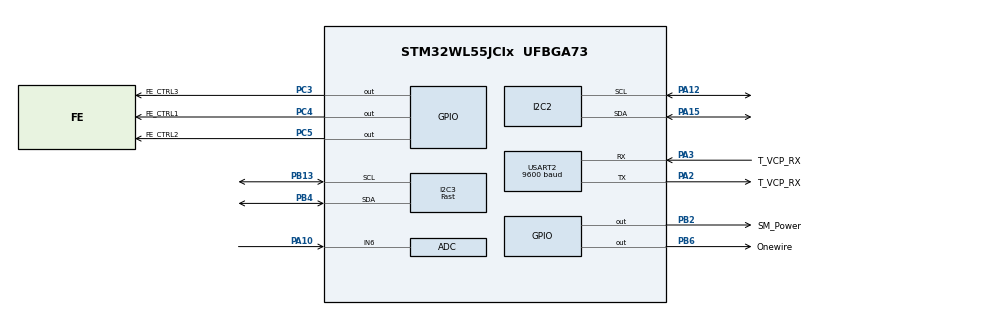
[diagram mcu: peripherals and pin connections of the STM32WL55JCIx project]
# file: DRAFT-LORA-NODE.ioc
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ADC.Channel-0\#ChannelRegularConversion=ADC_CHANNEL_6
ADC.EnableRegularConversion=ENABLE
ADC.NbrOfConversion=1
ADC.NbrOfConversionFlag=1
ADC.Rank-0\#ChannelRegularConversion=1
ADC.SamplingTime-0\#ChannelRegularConversion=ADC_SAMPLINGTIME_COMMON_1
ADC.SamplingTimeCommon1=ADC_SAMPLETIME_19CYCLES_5
ADC.SamplingTimeCommon2=ADC_SAMPLETIME_19CYCLES_5
ADC.SelectedChannel=ADC_CHANNEL_6
I2C2.Timing=0x10805D88
I2C3.I2C_Speed_Mode=I2C_Fast
I2C3.Timing=0x0090194B
Mcu.Family=STM32WL
Mcu.Name=STM32WL55JCIx
Mcu.Package=UFBGA73
NVIC.PriorityGroup=NVIC_PRIORITYGROUP_4
NVIC.SUBGHZ_Radio_IRQn=true\:0\:0\:false\:false\:true\:true\:true\:true
OSC_IN.Mode=HSE-External-Oscillator
OSC_IN.Signal=RCC_OSC_IN
OSC_OUT.Mode=HSE-External-Oscillator
OSC_OUT.Signal=RCC_OSC_OUT
PA10.Mode=IN6
PA10.Signal=ADC_IN6
PA12.Mode=I2C
PA12.Signal=I2C2_SCL
PA15.Mode=I2C
PA15.Signal=I2C2_SDA
PA2.GPIO_Label=T_VCP_RX
PA2.Mode=Asynchronous
PA2.Signal=USART2_TX
PA3.GPIO_Label=T_VCP_RX
PA3.Mode=Asynchronous
PA3.Signal=USART2_RX
PB13.Mode=I2C
PB13.Signal=I2C3_SCL
PB2.GPIO_Label=SM_Power
PB2.GPIO_Speed=GPIO_SPEED_FREQ_VERY_HIGH
PB2.PinState=GPIO_PIN_SET
PB2.Signal=GPIO_Output
PB4.Mode=I2C
PB4.Signal=I2C3_SDA
PB6.GPIO_FM6=SYSCFG_FASTMODEPLUS_PB6
PB6.GPIO_Label=Onewire
PB6.GPIO_Speed=GPIO_SPEED_FREQ_VERY_HIGH
PB6.Signal=GPIO_Output
PB8.Signal=I2C1_SCL
PB9.Signal=I2C1_SDA
PC14-OSC32_IN.GPIO_Label=RCC_OSC32_IN
PC14-OSC32_IN.Signal=RCC_OSC32_IN
PC15-OSC32_OUT.GPIO_Label=RCC_OSC32_OUT
PC15-OSC32_OUT.Signal=RCC_OSC32_OUT
PC3.GPIO_Label=FE_CTRL3
PC3.GPIO_Speed=GPIO_SPEED_FREQ_VERY_HIGH
PC3.Signal=GPIO_Output
PC4.GPIO_Label=FE_CTRL1
PC4.GPIO_Speed=GPIO_SPEED_FREQ_VERY_HIGH
PC4.Signal=GPIO_Output
PC5.GPIO_Label=FE_CTRL2
PC5.GPIO_Speed=GPIO_SPEED_FREQ_VERY_HIGH
PC5.Signal=GPIO_Output
ProjectManager.HeapSize=0x200
ProjectManager.StackSize=0x400
ProjectManager.TargetToolchain=STM32CubeIDE
RCC.AHBFreq_Value=48000000
RCC.APB1Freq_Value=48000000
RCC.APB1TimFreq_Value=48000000
RCC.APB2Freq_Value=48000000
RCC.APB2TimFreq_Value=48000000
RCC.APB3Freq_Value=48000000
RCC.CortexFreq_Value=48000000
RCC.HCLKFreq_Value=48000000
RCC.HSE_VALUE=32000000
RCC.HSI_VALUE=16000000
RCC.LSE_VALUE=32768
RCC.MSIClockRange=RCC_MSIRANGE_11
RCC.SYSCLKFreq_VALUE=48000000
RCC.VCOOutputFreq_Value=384000000
SUBGHZ.BaudratePrescaler=SUBGHZSPI_BAUDRATEPRESCALER_4
TIM2.Prescaler=47
USART2.BaudRate=9600
USART2.VirtualMode-Asynchronous=VM_ASYNC
VP_RTC_VS_RTC_Activate.Mode=RTC_Enabled
VP_SUBGHZ_VS_SUBGHZ.Mode=SUBGHZ_Activate
VP_TIM2_VS_ClockSourceINT.Mode=Internal
board=NUCLEO-WL55JC2

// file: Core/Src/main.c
/* USER CODE BEGIN Header */
/**
  ******************************************************************************
  * @file           : main.c
  * @brief          : Main program body
  ******************************************************************************
  * @attention
  *
  * <h2><center>&copy; Copyright (c) 2021 STMicroelectronics.
  * All rights reserved.</center></h2>
  *
  * This software component is licensed by ST under BSD 3-Clause license,
  * the "License"; You may not use this file except in compliance with the
  * License. You may obtain a copy of the License at:
  *                        opensource.org/licenses/BSD-3-Clause
  *
  ******************************************************************************
  */
/* USER CODE END Header */
#include "main.h"
#include "adc.h"
#include "i2c.h"
#include "rtc.h"
#include "subghz.h"
#include "tim.h"
#include "usart.h"
#include "gpio.h"

/* USER CODE BEGIN Includes */

#include <string.h>
#include <stdio.h>
//lora
#include "radio_driver.h"
#include "stm32wlxx_nucleo.h"
//sensors
#include "BME280_STM32.h"
// drivers for oled
#include "ssd1306.h"
#include "fonts.h"

/* USER CODE END Includes */

/* USER CODE BEGIN PTD */

typedef enum
{
  STATE_NULL,
  STATE_MASTER,
  STATE_SLAVE
} state_t;

typedef enum
{
  SSTATE_NULL,
  SSTATE_RX,
  SSTATE_TX
} substate_t;

typedef struct
{
  state_t state;
  substate_t subState;
  uint32_t rxTimeout;
  uint32_t rxMargin;
  uint32_t randomDelay;
  char rxBuffer[RX_BUFFER_SIZE];
  uint8_t rxSize;
} pingPongFSM_t;

/* USER CODE END PTD */

/* USER CODE BEGIN PM */

//#define RF_FREQUENCY                                433000000 //868000000 /* Hz */
//#define TX_OUTPUT_POWER                             14        /* dBm */
//#define LORA_BANDWIDTH                              0         /* Hz */
//#define LORA_SPREADING_FACTOR                       12
//#define LORA_CODINGRATE                             1
//#define LORA_PREAMBLE_LENGTH                        8         /* Same for Tx and Rx */
//#define LORA_SYMBOL_TIMEOUT                         5         /* Symbols */
#define RF_FREQUENCY                                433000000  // Choose based on your region
#define TX_OUTPUT_POWER                             14         // dBm, adjust for your region (14 dBm in Europe)
#define LORA_BANDWIDTH                              0          // 0 = 125 kHz, 1 = 250 kHz, 2 = 500 kHz
#define LORA_SPREADING_FACTOR                       12         // SF12 for maximum range
#define LORA_CODINGRATE                             4          // CR 4/8 for maximum robustness
#define LORA_PREAMBLE_LENGTH                        8          // Preamble length
#define LORA_SYMBOL_TIMEOUT                         5          // Symbols
/* USER CODE END PM */

/* USER CODE BEGIN PV */
#define NID 002

#define TRUE 1
#define FALSE 0
// OLED
#define OLEDenable 1 //0 to turn it off
#define BUFFER_SIZE 50
char bufnum[BUFFER_SIZE];
// OLED END
// BME280
#define BMEenable 1
float Temperature, Pressure, Humidity;
// BME280 END
//SoilMoisture
float SM;
float wetS = 1750;//1151; // set per medium
float dryS = 3785; // set per medium
float mS, cS;
#define CALIBRATION 1
//SoilMoiature END
// DS18B20
float ST;
uint8_t Presence = 0;

#define DS18B20_PORT Onewire_GPIO_Port
#define DS18B20_PIN Onewire_Pin
// DS18B20 END
//lora
volatile uint8_t txCompleteFlag = 0;
void (*volatile eventReceptor)(pingPongFSM_t *const fsm);
PacketParams_t packetParams;  // TODO: this is lazy...
const RadioLoRaBandwidths_t Bandwidths[] = { LORA_BW_125, LORA_BW_250, LORA_BW_500 };
//lora END
char uniqueID[25];
char txData[256];
uint8_t rxBuffer[256];
//sleep
long int wakeUpCount = 0;
long int halfMinutes = 1; // number of 30 second increments you wan the device to sleep
//sleep END
/* USER CODE END PV */

void SystemClock_Config(void);
/* USER CODE BEGIN PFP */

void radioInit(void);
void RadioOnDioIrq(RadioIrqMasks_t radioIrq);
void eventTxDone(pingPongFSM_t *const fsm);
void eventRxDone(pingPongFSM_t *const fsm);
void eventTxTimeout(pingPongFSM_t *const fsm);
void eventRxTimeout(pingPongFSM_t *const fsm);
void eventRxError(pingPongFSM_t *const fsm);
void enterMasterRx(pingPongFSM_t *const fsm);
void enterSlaveRx(pingPongFSM_t *const fsm);
void enterMasterTx(pingPongFSM_t *const fsm);
void enterSlaveTx(pingPongFSM_t *const fsm);
void transitionRxDone(pingPongFSM_t *const fsm);
//lora
void LEDstartup(void);
void receiveMODE(uint8_t *rxBuffer, uint8_t bufferSize, uint32_t timeout);
int checkRX(uint8_t *rxBuffer, uint8_t bufferSize);
void transmitData(char *data);
//sensors
uint8_t DS18B20_Start (void);
uint8_t DS18B20_Read (void);
void soilMOISTUREinit(void);
float soilMOISTURE(void);
float soilTEMP(void);
void printOLED(float SM, float ST, float AT, float AP, float AH);
/* USER CODE END PFP */

int main(void)
{

  /* USER CODE BEGIN 1 */

//  pingPongFSM_t fsm;
  char uartBuff[100];

  /* USER CODE END 1 */

  /* MCU Configuration--------------------------------------------------------*/

  /* Reset of all peripherals, Initializes the Flash interface and the Systick. */
  HAL_Init();

  /* Configure the system clock */
  SystemClock_Config();

  /* USER CODE BEGIN SysInit */

  GPIO_InitTypeDef GPIO_InitStruct = {0};

  // Enable GPIO Clocks
  __HAL_RCC_GPIOA_CLK_ENABLE();
  __HAL_RCC_GPIOB_CLK_ENABLE();

  // DEBUG_SUBGHZSPI_{NSSOUT, SCKOUT, MSIOOUT, MOSIOUT} pins
  GPIO_InitStruct.Pin = GPIO_PIN_4 | GPIO_PIN_5 | GPIO_PIN_6 | GPIO_PIN_7;
  GPIO_InitStruct.Mode = GPIO_MODE_AF_PP;
  GPIO_InitStruct.Pull = GPIO_NOPULL;
  GPIO_InitStruct.Speed = GPIO_SPEED_FREQ_VERY_HIGH;
  GPIO_InitStruct.Alternate = GPIO_AF13_DEBUG_SUBGHZSPI;
  HAL_GPIO_Init(GPIOA, &GPIO_InitStruct);

  // DEBUG_RF_{HSE32RDY, NRESET} pins
  GPIO_InitStruct.Pin = GPIO_PIN_10 | GPIO_PIN_11;
  GPIO_InitStruct.Alternate = GPIO_AF13_DEBUG_RF;
  HAL_GPIO_Init(GPIOA, &GPIO_InitStruct);

  // DEBUG_RF_{SMPSRDY, LDORDY} pins
  GPIO_InitStruct.Pin = GPIO_PIN_2 | GPIO_PIN_4;
  HAL_GPIO_Init(GPIOB, &GPIO_InitStruct);

  // RF_BUSY pin
  GPIO_InitStruct.Pin = GPIO_PIN_12;
  GPIO_InitStruct.Alternate = GPIO_AF6_RF_BUSY;
  HAL_GPIO_Init(GPIOA, &GPIO_InitStruct);

  // RF_{IRQ0, IRQ1, IRQ2} pins
  GPIO_InitStruct.Pin = GPIO_PIN_3 | GPIO_PIN_5 | GPIO_PIN_8;
  HAL_GPIO_Init(GPIOB, &GPIO_InitStruct);

  /* USER CODE END SysInit */

  /* Initialize all configured peripherals */
  MX_GPIO_Init();
  MX_SUBGHZ_Init();
  MX_USART2_UART_Init();
  MX_ADC_Init();
  MX_TIM2_Init();
  MX_I2C3_Init();
  MX_I2C2_Init();
  MX_RTC_Init();
  /* USER CODE BEGIN 2 */

  SSD1306_Clear(); // clear screen of old info before operation

  HAL_TIM_Base_Start(&htim2); // start timer used for us delays

  if(BMEenable) BME280_Config(OSRS_2, OSRS_16, OSRS_1, MODE_NORMAL, T_SB_0p5, IIR_16);

  // Calibrate The ADC On Power-Up For Better Accuracy
  HAL_GPIO_WritePin(GPIOB, SM_Power_Pin, GPIO_PIN_SET);
  HAL_Delay(100);
  HAL_ADCEx_Calibration_Start(&hadc);
  HAL_GPIO_WritePin(GPIOB, SM_Power_Pin, GPIO_PIN_RESET);

  SSD1306_Init (); // initialise the display TODO : for debugging only
  soilMOISTUREinit();

  //BSP_LED_Init(LED_GREEN);//might interfere with measurements
  //BSP_LED_Init(LED_RED);
  //BSP_LED_Init(LED_BLUE);
  //BSP_LED_Init(LED_GREEN);

	/* Check and handle if the system was resumed from StandBy mode */
	if(__HAL_PWR_GET_FLAG(PWR_FLAG_SB) == RESET)
	{
	  MX_RTC_Init();
	}
	else
	{
	  /* Clear Standby flag */
	  __HAL_PWR_CLEAR_FLAG(PWR_FLAG_SB);

	  /* Enable access to RTC domain for following wake-up source configuration */
	  HAL_PWR_EnableBkUpAccess();
	  __HAL_RCC_RTCAPB_CLK_ENABLE();
	}

  DBGMCU->CR &= ~(DBGMCU_CR_DBG_SLEEP | DBGMCU_CR_DBG_STOP | DBGMCU_CR_DBG_STANDBY);

  //strcpy(uartBuff, "\nAngus is doing his best\n---------------\r\n");
  //HAL_UART_Transmit(&huart2, (uint8_t *)uartBuff, strlen(uartBuff), HAL_MAX_DELAY);
//  sprintf(uartBuff, "LORA_MODULATION\r\nLORA_BW=%d Hz\r\nLORA_SF=%d\r\n", (1 << LORA_BANDWIDTH) * 125, LORA_SPREADING_FACTOR);
//  HAL_UART_Transmit(&huart2, (uint8_t *)uartBuff, strlen(uartBuff), HAL_MAX_DELAY);
  radioInit();

  getUniqueID(uniqueID);
  transmitData((uint8_t *)uniqueID);

  printFlowerArt();
  LEDstartup();

  /* USER CODE END 2 */

  /* Infinite loop */
  while (1)
  {

    /* USER CODE BEGIN 3 */
	  //take measurements
	  if (BMEenable){
		  BME280_WakeUP();
		  BME280_Measure();
	  }

	  SM = soilMOISTURE();
	  ST = soilTEMP();
	  if (OLEDenable) printOLED(SM, ST, Temperature, Pressure, Humidity);//TODO: for debugging

	  //TODO: put data into formatted string txData
	  formatSensorData(txData);

	  //HAL_Delay(5000);

	  //Transmit Data
	  BSP_LED_On(LED_RED);
	  transmitData((uint8_t *)txData);

	  __HAL_UART_DISABLE_IT(&huart2, UART_IT_RXNE);  // Disable UART RX interrupt

//	  HAL_Delay(100);
		// Wait for LoRa transmission to complete before entering Stop 2 mode
	  waitForLoRaTxComplete();
	  BSP_LED_Off(LED_RED);
	  sleep(halfMinutes);
	  //HAL_Delay(2000);

  }
  /* USER CODE END 3 */
}

void SystemClock_Config(void)
{
  RCC_OscInitTypeDef RCC_OscInitStruct = {0};
  RCC_ClkInitTypeDef RCC_ClkInitStruct = {0};

  /** Configure the main internal regulator output voltage
  */
  __HAL_PWR_VOLTAGESCALING_CONFIG(PWR_REGULATOR_VOLTAGE_SCALE1);

  /** Initializes the CPU, AHB and APB buses clocks
  */
  RCC_OscInitStruct.OscillatorType = RCC_OSCILLATORTYPE_LSI|RCC_OSCILLATORTYPE_MSI;
  RCC_OscInitStruct.MSIState = RCC_MSI_ON;
  RCC_OscInitStruct.MSICalibrationValue = RCC_MSICALIBRATION_DEFAULT;
  RCC_OscInitStruct.MSIClockRange = RCC_MSIRANGE_11;
  RCC_OscInitStruct.LSIDiv = RCC_LSI_DIV1;
  RCC_OscInitStruct.LSIState = RCC_LSI_ON;
  RCC_OscInitStruct.PLL.PLLState = RCC_PLL_NONE;
  if (HAL_RCC_OscConfig(&RCC_OscInitStruct) != HAL_OK)
  {
    Error_Handler();
  }

  /** Configure the SYSCLKSource, HCLK, PCLK1 and PCLK2 clocks dividers
  */
  RCC_ClkInitStruct.ClockType = RCC_CLOCKTYPE_HCLK3|RCC_CLOCKTYPE_HCLK
                              |RCC_CLOCKTYPE_SYSCLK|RCC_CLOCKTYPE_PCLK1
                              |RCC_CLOCKTYPE_PCLK2;
  RCC_ClkInitStruct.SYSCLKSource = RCC_SYSCLKSOURCE_MSI;
  RCC_ClkInitStruct.AHBCLKDivider = RCC_SYSCLK_DIV1;
  RCC_ClkInitStruct.APB1CLKDivider = RCC_HCLK_DIV1;
  RCC_ClkInitStruct.APB2CLKDivider = RCC_HCLK_DIV1;
  RCC_ClkInitStruct.AHBCLK3Divider = RCC_SYSCLK_DIV1;

  if (HAL_RCC_ClockConfig(&RCC_ClkInitStruct, FLASH_LATENCY_2) != HAL_OK)
  {
    Error_Handler();
  }
}

/* USER CODE BEGIN 4 */
void sleep(long int hMinutes)
{
	/* Deactivate RTC wake-up timer */
	HAL_RTCEx_DeactivateWakeUpTimer(&hrtc);

	/* Clear all related wakeup flags */
	__HAL_PWR_CLEAR_FLAG(PWR_FLAG_WU);

	/* Re-enable wakeup source: configure the Wakeup timer */
	// if you do this too fast then things get garbled
	HAL_RTCEx_SetWakeUpTimer_IT(&hrtc, 0xEA60, RTC_WAKEUPCLOCK_RTCCLK_DIV16, 0);
	BSP_LED_On(LED_GREEN);

	// Disable peripherals before sleep
	HAL_ADC_DeInit(&hadc);
	HAL_UART_DeInit(&huart2);
	HAL_I2C_DeInit(&hi2c2);
	HAL_I2C_DeInit(&hi2c3);

	// Disable unnecessary clocks before entering sleep mode
	    __HAL_RCC_USART2_CLK_DISABLE();
	    __HAL_RCC_ADC_CLK_DISABLE();
	    __HAL_RCC_I2C2_CLK_DISABLE();
	    __HAL_RCC_I2C3_CLK_DISABLE();
	    __HAL_RCC_TIM2_CLK_DISABLE();

	/* Enter Stop 2 Mode */
	HAL_PWREx_EnterSTOP2Mode(PWR_STOPENTRY_WFI);
	// code will resume from here
	// Increment wake-up count and check if 1 minute (2 wake-ups) is reached
	    wakeUpCount++;

	    // If we have woken up twice (for a total of 60 seconds), reset count
	    if (wakeUpCount >= hMinutes)
	    {
	        wakeUpCount = 0;  // Reset counter
	        // Reinitialize clock and peripherals
	    }
	    else
	    {
	        // Enter Stop 2 Mode again for duration of period
	        sleep(hMinutes);
	    }

	    // Upon waking up, re-enable the clocks
		SystemClock_Config();
		__HAL_RCC_USART2_CLK_ENABLE();
		__HAL_RCC_ADC_CLK_ENABLE();
		__HAL_RCC_I2C2_CLK_ENABLE();
		__HAL_RCC_I2C3_CLK_ENABLE();
		__HAL_RCC_TIM2_CLK_ENABLE();

	BSP_LED_Off(LED_GREEN);

	//reinit some things
	SystemClock_Config();
	MX_TIM2_Init();
	HAL_TIM_Base_Start(&htim2); // Restart the timer if it is used for delays

	MX_USART2_UART_Init();
	MX_I2C2_Init();
	MX_I2C3_Init();
	MX_ADC_Init();

	MX_SUBGHZ_Init();
	radioInit(); // Custom radio initialization function

}

void handleRxTimeout(void)
{
    char uartBuff[50];
    // Apply workaround to reset certain timing registers after RX timeout
    SUBGRF_WriteRegister(0x0920, 0x00);
    SUBGRF_WriteRegister(0x0944, (SUBGRF_ReadRegister(0x0944) | 0x02));

    strcpy(uartBuff, "RX Timeout!\r\n");
    HAL_UART_Transmit(&huart2, (uint8_t *)uartBuff, strlen(uartBuff), HAL_MAX_DELAY);

    // Clear interrupt status
    SUBGRF_ClearIrqStatus(IRQ_RX_TX_TIMEOUT);

    // Re-set RX mode explicitly after timeout handling
    SUBGRF_SetRx(3000 << 6); // Ensure radio is back in RX mode
}

void handleRxError(void)
{
    char uartBuff[50];
    // Apply workaround to reset certain timing registers after CRC error
    SUBGRF_WriteRegister(0x0920, 0x00);
    SUBGRF_WriteRegister(0x0944, (SUBGRF_ReadRegister(0x0944) | 0x02));

    strcpy(uartBuff, "RX Error: CRC Error Detected!\r\n");
    HAL_UART_Transmit(&huart2, (uint8_t *)uartBuff, strlen(uartBuff), HAL_MAX_DELAY);

    // Clear interrupt status
    SUBGRF_ClearIrqStatus(IRQ_CRC_ERROR);

    // Re-set RX mode explicitly after error handling
    SUBGRF_SetRx(3000 << 6); // Ensure radio is back in RX mode
}

void handleRxDone(bool reset)
{
    char uartBuff[100];
//    uint8_t rxBuffer[256] = {0};  // Buffer to hold received data
    uint8_t rxSize = 0;
    PacketStatus_t packetStatus;

    // Apply workaround to reset certain timing registers after RX
    SUBGRF_WriteRegister(0x0920, 0x00); // Specific workaround for RX timing sequence
    SUBGRF_WriteRegister(0x0944, (SUBGRF_ReadRegister(0x0944) | 0x02)); // Another timing-related workaround

    // Retrieve the payload from the radio buffer
    SUBGRF_GetPayload((uint8_t *)rxBuffer, &rxSize, 0xFF);

    // Debug: Print the actual size of the received data
    snprintf(uartBuff, sizeof(uartBuff), "Payload Length: %d\r\n", rxSize);
    HAL_UART_Transmit(&huart2, (uint8_t *)uartBuff, strlen(uartBuff), HAL_MAX_DELAY);

    // Get the packet status
    SUBGRF_GetPacketStatus(&packetStatus);

    // Print the RSSI and SNR values
    // Display RSSI, SNR, and frequency error values
       sprintf(uartBuff, "Received Data: %s  \r\nRSSI=%d dBm \r\nSignal RSSI=%d dBm \r\nSNR=%d dB \r\nFreq Error=%lu Hz\r\n",
               rxBuffer,
       		   packetStatus.Params.LoRa.RssiPkt,
               packetStatus.Params.LoRa.SignalRssiPkt,
               packetStatus.Params.LoRa.SnrPkt,
               packetStatus.Params.LoRa.FreqError);
       HAL_UART_Transmit(&huart2, (uint8_t *)uartBuff, strlen(uartBuff), HAL_MAX_DELAY);

    // Debugging read directly from buffer registers
    for (int i = 0; i < rxSize; i++)
    {
        uint8_t byteRead = SUBGRF_ReadRegister(0x00 + i); // Assuming buffer starts at 0x00
        //snprintf(uartBuff, sizeof(uartBuff), "Byte %d: %02X\r\n", i, byteRead);
        //HAL_UART_Transmit(&huart2, (uint8_t *)uartBuff, strlen(uartBuff), HAL_MAX_DELAY);
    }

    // Print the received data in hexadecimal format for better diagnostics
    HAL_UART_Transmit(&huart2, (uint8_t *)"Data: ", 6, HAL_MAX_DELAY);
    for (int i = 0; i < rxSize; i++)
    {
        snprintf(uartBuff, sizeof(uartBuff), "%02X ", rxBuffer[i]);
        HAL_UART_Transmit(&huart2, (uint8_t *)uartBuff, strlen(uartBuff), HAL_MAX_DELAY);
    }
    HAL_UART_Transmit(&huart2, (uint8_t *)"\r\n", 2, HAL_MAX_DELAY);

    // Clear interrupt status and re-enable interrupts
    SUBGRF_ClearIrqStatus(IRQ_RX_DONE);

    if(reset){
    	// Re-set RX mode explicitly after each handling
    	SUBGRF_SetRx(3000 << 6); // Ensure radio is back in RX mode
    }

}

/**
  * @brief  Radio IRQ handler
  * @param  radioIrq Interrupt type (TX done, RX done, etc.)
  * @retval None
  */
//void RadioOnDioIrq(RadioIrqMasks_t radioIrq)
//{
//    // Handles the radio interrupts
//    if (radioIrq & IRQ_RX_DONE)
//        handleRxDone(TRUE);
//    else if (radioIrq & IRQ_RX_TX_TIMEOUT)
//        handleRxTimeout();
//    else if (radioIrq & IRQ_CRC_ERROR)
//        handleRxError();
//}

void receiveINIT(int timeout)
{
    // Set up radio to receive data
    SUBGRF_SetDioIrqParams(
        IRQ_RX_DONE | IRQ_RX_TX_TIMEOUT | IRQ_CRC_ERROR, // Enable specific interrupts
        IRQ_RX_DONE | IRQ_RX_TX_TIMEOUT | IRQ_CRC_ERROR,
        IRQ_RADIO_NONE,
        IRQ_RADIO_NONE
    );

    // Set the radio to RX mode with a timeout
	  SUBGRF_SetSwitch(RFO_LP, RFSWITCH_RX);  // Set RF switch to RX mode
	  packetParams.Params.LoRa.PayloadLength = sizeof(rxBuffer);  // Set expected payload length
	  SUBGRF_SetPacketParams(&packetParams);  // Apply packet parameters
	  SUBGRF_SetRx(timeout << 6);  // Set RX timeout (3000 ms)
}

void listenRX(void)
{
    // Wait for an event (IRQ handler will trigger the appropriate handler)
    while (1)
    {
        // Read the interrupt status from the radio
        uint16_t irqStatus = SUBGRF_GetIrqStatus();

        // Print the current IRQ status for debugging
//          char uartBuff[50];
//          snprintf(uartBuff, sizeof(uartBuff), "IRQ Status: 0x%04X\r\n", irqStatus);
//          HAL_UART_Transmit(&huart2, (uint8_t *)uartBuff, strlen(uartBuff), HAL_MAX_DELAY);

        // Check for specific interrupt events
        if (irqStatus & IRQ_RX_DONE)  // Check if RX is done
        {
            handleRxDone(TRUE);  // Handle the received data
            BSP_LED_Toggle(LED_BLUE);
            break;
        }
        else if (irqStatus & IRQ_RX_TX_TIMEOUT)  // Check for timeout
        {
            handleRxTimeout();  // Handle the timeout
            break;
        }
        else if (irqStatus & IRQ_CRC_ERROR)  // Check for CRC error
        {
            handleRxError();  // Handle the error
            break;
        }

        // Add a small delay to prevent flooding UART with messages
        HAL_Delay(5000);
    }
}

/**
  * @brief  Prints a flower art with a message to the UART.
  * @retval None
  */
void printFlowerArt(void)
{
    const char *flowerArt =
    "        _\r\n"
    "       (_)                   \r\n"
    "   /\\  | |  /\\        \r\n"
    "  /  \\_|_|_/  \\     \r\n"
    "  \\   `\"\"\"`   /     \r\n"
    "   \\_________/         \r\n"
    "       | |                   \r\n"
    "       | |                   \r\n"
    "       | |                   \r\n"
    "       | |                   \r\n"
    "      _|_|_                \r\n"
    "    /_/   \\_\\            \r\n\n"
    "Angus's Peony Monitor\r\n\n";

    // Transmit the art and message to UART
    HAL_UART_Transmit(&huart2, (uint8_t *)flowerArt, strlen(flowerArt), HAL_MAX_DELAY);
}

/**
 * @brief Fetches the STM32 board's unique ID and stores it in a string.
 * @param uniqueID A pointer to a character array where the unique ID will be stored.
 *                 Ensure the array is large enough to hold the formatted string (e.g., 25 bytes).
 */
void getUniqueID(char *uniqueID) {
    // Fetch the unique ID from the registers
    uint32_t id0 = HAL_GetUIDw0();  // First part of the unique ID
    uint32_t id1 = HAL_GetUIDw1();  // Second part of the unique ID
    uint32_t id2 = HAL_GetUIDw2();  // Third part of the unique ID

    // Format the unique ID into a readable string
    snprintf(uniqueID, 25, "%08X%08X%08X", id0, id1, id2);
}

/**
 * @brief Formats the sensor data into a string for transmission.
 * @param txData Pointer to the buffer where the formatted data will be stored.
 * @param SM Soil Moisture (format: xxx.xx).
 * @param ST Soil Temperature (format: xx.xx).
 * @param AT Air Temperature (format: xx.xx).
 * @param AP Air Pressure (format: xxxx).
 * @param AH Air Humidity (format: xx.xx).
 */
void formatSensorData(char *txData) {
    // Use snprintf to ensure the values are formatted as required.
    // %07.2f formats SM to xxx.xx, %05.2f formats ST, AT, AH to xx.xx, and %04.0f formats AP to xxxx
    sprintf(txData, "%f", SM);

    // Optional: Print the formatted data for debugging
    char uartBuff[256];
    snprintf((char *)txData, 256, "$%u:%06.2f:%05.2f:%05.2f:%04.0f:%05.2f",NID, SM, ST, Temperature, Pressure, Humidity);
    HAL_UART_Transmit(&huart2, (uint8_t *)uartBuff, strlen(uartBuff), HAL_MAX_DELAY);
}

void delay (uint16_t us)// us delay
{
	__HAL_TIM_SET_COUNTER(&htim2,0);  // set the counter value a 0
	while (__HAL_TIM_GET_COUNTER(&htim2) < us);  // wait for the counter to reach the us input in the parameter
}

float soilTEMP(void)
{
	uint8_t Temp_byte1, Temp_byte2;
	int16_t TEMP;

	  Presence = DS18B20_Start ();
	  DS18B20_Write (0xCC);  // skip ROM
	  DS18B20_Write (0x44);  // convert t

	  Presence = DS18B20_Start ();
	  DS18B20_Write (0xCC);  // skip ROM
	  DS18B20_Write (0xBE);  // Read Scratch-pad

      Temp_byte1 = DS18B20_Read();
	  Temp_byte2 = DS18B20_Read();
	  TEMP = ((Temp_byte2<<8))|Temp_byte1;
	  return (float)TEMP/16.0;  // resolution is 0.0625

}

uint8_t DS18B20_Start (void)
{
	uint8_t Response = 0;
	Set_Pin_Output(DS18B20_PORT, DS18B20_PIN);   // set the pin as output
	HAL_GPIO_WritePin (DS18B20_PORT, DS18B20_PIN, 0);  // pull the pin low
	delay (480);   // delay according to datasheet

	Set_Pin_Input(DS18B20_PORT, DS18B20_PIN);    // set the pin as input

	delay (80);    // delay according to datasheet
		if (!(HAL_GPIO_ReadPin (DS18B20_PORT, DS18B20_PIN))) Response = 1;    // if the pin is low i.e the presence pulse is detected
		else Response = -1;

		delay (400); // 480 us delay totally.

		return Response;

}

void DS18B20_Write (uint8_t data)
{
	Set_Pin_Output(DS18B20_PORT, DS18B20_PIN);  // set as output

	for (int i=0; i<8; i++)
	{
		if ((data & (1<<i))!=0)  // if the bit is high
		{
			// write 1
			Set_Pin_Output(DS18B20_PORT, DS18B20_PIN);  // set as output
			HAL_GPIO_WritePin (DS18B20_PORT, DS18B20_PIN, 0);  // pull the pin LOW
			delay (1);  // wait for 1 us

			Set_Pin_Input(DS18B20_PORT, DS18B20_PIN);  // set as input
			delay (50);  // wait for 60 us
		}

		else  // if the bit is low
		{
			// write 0
			Set_Pin_Output(DS18B20_PORT, DS18B20_PIN);
			HAL_GPIO_WritePin (DS18B20_PORT, DS18B20_PIN, 0);  // pull the pin LOW
			delay (50);  // wait for 60 us

			Set_Pin_Input(DS18B20_PORT, DS18B20_PIN);
		}
	}
}

uint8_t DS18B20_Read(void)
{
    uint8_t value = 0;
    Set_Pin_Input(DS18B20_PORT, DS18B20_PIN);

    for (int i = 0; i < 8; i++)
    {
        Set_Pin_Output(DS18B20_PORT, DS18B20_PIN);
        HAL_GPIO_WritePin(DS18B20_PORT, DS18B20_PIN, 0);  // pull the pin LOW
        delay(2);  // wait for 2 us
        Set_Pin_Input(DS18B20_PORT, DS18B20_PIN);
        if (HAL_GPIO_ReadPin(DS18B20_PORT, DS18B20_PIN))
        {
            value |= 1 << i;  // read = 1
        }
        delay(60);  // wait for 60 us
    }
    return value;
}

void Set_Pin_Output (GPIO_TypeDef *GPIOx, uint16_t GPIO_Pin)
{
	GPIO_InitTypeDef GPIO_InitStruct = {0};
	GPIO_InitStruct.Pin = GPIO_Pin;
	GPIO_InitStruct.Mode = GPIO_MODE_OUTPUT_PP;
	GPIO_InitStruct.Speed = GPIO_SPEED_FREQ_LOW;
	HAL_GPIO_Init(GPIOx, &GPIO_InitStruct);
}

void Set_Pin_Input (GPIO_TypeDef *GPIOx, uint16_t GPIO_Pin)
{
	GPIO_InitTypeDef GPIO_InitStruct = {0};
	GPIO_InitStruct.Pin = GPIO_Pin;
	GPIO_InitStruct.Mode = GPIO_MODE_INPUT;
	GPIO_InitStruct.Pull = GPIO_PULLUP;
	HAL_GPIO_Init(GPIOx, &GPIO_InitStruct);
}

void soilMOISTUREinit(void)
{
	mS = (-100.0)/(dryS - wetS);
	cS = - mS*dryS;
}

void ClearBuffer(char *buffer, uint16_t size) {
    for (uint16_t i = 0; i < size; i++) {
        buffer[i] = 0;  // Set each element to 0
    }
}

float soilMOISTURE(void)
{
	float temp = 0.9;
	HAL_GPIO_WritePin(GPIOB, SM_Power_Pin, GPIO_PIN_SET);
	HAL_Delay(100);
	// Start ADC Conversion
	HAL_ADC_Start(&hadc);
	// Poll ADC1 Perihperal & TimeOut = 1mSec
	HAL_ADC_PollForConversion(&hadc, 1);
	// Read The ADC Conversion Result
	temp = (float)HAL_ADC_GetValue(&hadc);
	if(CALIBRATION == 0)
	{
		temp = mS*temp + cS;
	}
	HAL_GPIO_WritePin(GPIOB, SM_Power_Pin, GPIO_PIN_RESET);
	return temp;
}

void printOLED(float SM, float ST,  float AT, float AP, float AH)
{
	// TODO: for debugging only

	//HAL_Delay(100);

	SSD1306_GotoXY (5,5); // goto 10, 10
	SSD1306_Puts ("SM: ", &Font_7x10, 1); // print Hello
	sprintf (bufnum, "%.2f",SM);//move number into buffer
	SSD1306_Puts (bufnum, &Font_7x10, 1);
	SSD1306_GotoXY (5,5); // goto 10, 10
	SSD1306_Puts ("SM: ", &Font_7x10, 1); // print Hello
	sprintf (bufnum, "%.2f",SM);//move number into buffer
	SSD1306_Puts (bufnum, &Font_7x10, 1);

	SSD1306_GotoXY (5, 17);
	SSD1306_Puts ("ST: ", &Font_7x10, 1); // print Hello
	ClearBuffer(bufnum, BUFFER_SIZE);
	sprintf (bufnum, "%.2f",ST);//move number into buffer
	SSD1306_Puts (bufnum, &Font_7x10, 1);

	SSD1306_GotoXY (5, 29);
	SSD1306_Puts ("AT: ", &Font_7x10, 1); // print Hello
	ClearBuffer(bufnum, BUFFER_SIZE);
	sprintf (bufnum, "%.2f",AT);//move number into buffer
	SSD1306_Puts (bufnum, &Font_7x10, 1);

	SSD1306_GotoXY (5, 41);
	SSD1306_Puts ("AP: ", &Font_7x10, 1); // print Hello
	ClearBuffer(bufnum, BUFFER_SIZE);
	sprintf (bufnum, "%.2f",AP);//move number into buffer
	SSD1306_Puts (bufnum, &Font_7x10, 1);

	SSD1306_GotoXY (5, 53);
	SSD1306_Puts ("AH: ", &Font_7x10, 1); // print Hello
	ClearBuffer(bufnum, BUFFER_SIZE);
	sprintf (bufnum, "%.2f",AH);//move number into buffer
	SSD1306_Puts (bufnum, &Font_7x10, 1);

	ClearBuffer(bufnum, BUFFER_SIZE);
	SSD1306_UpdateScreen(); // update screen

}

// Function to wait for the LoRa transmission to complete
void waitForLoRaTxComplete()
{
    // Wait until the TX complete flag is set by the TX_DONE interrupt
    while (!txCompleteFlag)
    {
        HAL_Delay(100);  // Small delay to avoid busy-waiting
    }

    // Transmission complete, reset the flag
    txCompleteFlag = 0;
}

/**
  * @brief  Transmit data using Sub-GHz radio
  * @param  data Pointer to data to be transmitted
  * @retval None
  */
void transmitData(char *data)
{
	txCompleteFlag=0;
	// Print the data being transmitted to UART
	char uartBuff[256];  // Buffer for UART message
	snprintf(uartBuff, sizeof(uartBuff), "Transmitting Data: %s\r\n", data);
	HAL_UART_Transmit(&huart2, (uint8_t *)uartBuff, strlen(uartBuff), HAL_MAX_DELAY);
    // Configure IRQ for TX Done and TX Timeout
    SUBGRF_SetDioIrqParams( IRQ_TX_DONE | IRQ_RX_TX_TIMEOUT,
                            IRQ_TX_DONE | IRQ_RX_TX_TIMEOUT,
                            IRQ_RADIO_NONE,
                            IRQ_RADIO_NONE );

    // Set the radio to TX mode
    SUBGRF_SetSwitch(RFO_LP, RFSWITCH_TX);

    // Workaround before each packet transmission (if required by the chip)
    SUBGRF_WriteRegister(0x0889, (SUBGRF_ReadRegister(0x0889) | 0x04));

    // Set payload length
    packetParams.Params.LoRa.PayloadLength = strlen(data);
    SUBGRF_SetPacketParams(&packetParams);

    // Send the payload
    SUBGRF_SendPayload((uint8_t *)data, packetParams.Params.LoRa.PayloadLength, 0);

    // Print debug information (optional)
    HAL_UART_Transmit(&huart2, (uint8_t *)"Transmitting Data...\r\n", 22, HAL_MAX_DELAY);
}

/**
  * @brief  Receive data using Sub-GHz radio
  * @param  rxBuffer Pointer to buffer where received data will be stored
  * @param  timeout Time to wait for reception (in milliseconds)
  * @retval None
  */
/**
  * @brief  Receive data using Sub-GHz radio
  * @param  rxBuffer Pointer to buffer where received data will be stored
  * @param  bufferSize Size of the rxBuffer
  * @param  timeout Time to wait for reception (in milliseconds)
  * @retval int Returns 0 if data is received successfully, -1 if timeout or error occurs
  */
void receiveMODE(uint8_t *rxBuffer, uint8_t bufferSize, uint32_t timeout)
{
    // Configure IRQ for RX Done, Timeout, and CRC Error
    SUBGRF_SetDioIrqParams(IRQ_RX_DONE | IRQ_RX_TX_TIMEOUT | IRQ_CRC_ERROR,
                           IRQ_RX_DONE | IRQ_RX_TX_TIMEOUT | IRQ_CRC_ERROR,
                           IRQ_RADIO_NONE,
                           IRQ_RADIO_NONE);

    // Set the radio to RX mode
    SUBGRF_SetSwitch(RFO_LP, RFSWITCH_RX);

    // Set the expected packet length and timeout
    packetParams.Params.LoRa.PayloadLength = bufferSize;
    SUBGRF_SetPacketParams(&packetParams);
    SUBGRF_SetRx(timeout << 6);  // Timeout in milliseconds (<< 6 converts to LoRa timing units)

}

int checkRX(uint8_t *rxBuffer, uint8_t bufferSize)
{
    // Wait until an event occurs (RX Done, Timeout, or Error)
//    uint32_t startTime = HAL_GetTick();
//    while (1)
//    {
//        // Check the elapsed time to handle timeout manually
//        if ((HAL_GetTick() - startTime) > timeout)
//        {
//            // Timeout occurred
//            HAL_UART_Transmit(&huart2, (uint8_t *)"Receive Timeout!\r\n", 18, HAL_MAX_DELAY);
//            return -1;
//        }

        // Check if RX Done, TX Timeout, or CRC Error interrupts occurred
        RadioIrqMasks_t irqStatus = SUBGRF_GetIrqStatus();
        SUBGRF_ClearIrqStatus(irqStatus);  // Clear the interrupt flags

        if (irqStatus & IRQ_RX_DONE)
        {
            // Data received successfully
            uint8_t rxSize;
            SUBGRF_GetPayload(rxBuffer, &rxSize, bufferSize);
            char uartBuff[100];
            sprintf(uartBuff, "Data received: %s\r..\n", rxBuffer);
            HAL_UART_Transmit(&huart2, (uint8_t *)uartBuff, strlen(uartBuff), HAL_MAX_DELAY);

            BSP_LED_Toggle(LED_GREEN);
            irqStatus = 0;
            return 0;
        }
        else if (irqStatus & IRQ_RX_TX_TIMEOUT)
        {
            // Timeout occurred
            HAL_UART_Transmit(&huart2, (uint8_t *)"Receive Timeout!\r\n", 18, HAL_MAX_DELAY);

            irqStatus = 0;
            return -1;
        }
        else if (irqStatus & IRQ_CRC_ERROR)
        {
            // CRC error occurred
            HAL_UART_Transmit(&huart2, (uint8_t *)"CRC Error!\r\n", 12, HAL_MAX_DELAY);

            irqStatus = 0;
            return -1;
        }
//    }
}

void LEDstartup(void)
{
    // Flash each LED 3 times
    for (int i = 0; i < 3; i++)
    {
        // Toggle the Green LED
        //BSP_LED_Toggle(LED_GREEN);
        BSP_LED_Toggle(LED_RED);
        BSP_LED_Toggle(LED_BLUE);
        HAL_Delay(200); // Delay 200ms

        // Toggle the  LED again to turn it off
        //BSP_LED_Toggle(LED_GREEN);
        BSP_LED_Toggle(LED_RED);
        BSP_LED_Toggle(LED_BLUE);
        HAL_Delay(200);

    }
}

/**
  * @brief  Initialize the Sub-GHz radio and dependent hardware.
  * @retval None
  */
void radioInit(void)
{
  // Initialize the hardware (SPI bus, TCXO control, RF switch)
  SUBGRF_Init(RadioOnDioIrq);

  // Use DCDC converter if `DCDC_ENABLE` is defined in radio_conf.h
  // "By default, the SMPS clock detection is disabled and must be enabled before enabling the SMPS." (6.1 in RM0453)
  SUBGRF_WriteRegister(SUBGHZ_SMPSC0R, (SUBGRF_ReadRegister(SUBGHZ_SMPSC0R) | SMPS_CLK_DET_ENABLE));
  SUBGRF_SetRegulatorMode();

  // Use the whole 256-byte buffer for both TX and RX
  SUBGRF_SetBufferBaseAddress(0x00, 0x00);

  SUBGRF_SetRfFrequency(RF_FREQUENCY);
  SUBGRF_SetRfTxPower(TX_OUTPUT_POWER);
  SUBGRF_SetStopRxTimerOnPreambleDetect(false);

  SUBGRF_SetPacketType(PACKET_TYPE_LORA);

  SUBGRF_WriteRegister( REG_LR_SYNCWORD, ( LORA_MAC_PRIVATE_SYNCWORD >> 8 ) & 0xFF );
  SUBGRF_WriteRegister( REG_LR_SYNCWORD + 1, LORA_MAC_PRIVATE_SYNCWORD & 0xFF );

  ModulationParams_t modulationParams;
  modulationParams.PacketType = PACKET_TYPE_LORA;
  modulationParams.Params.LoRa.Bandwidth = Bandwidths[LORA_BANDWIDTH];
  modulationParams.Params.LoRa.CodingRate = (RadioLoRaCodingRates_t)LORA_CODINGRATE;
  modulationParams.Params.LoRa.LowDatarateOptimize = 0x00;
  modulationParams.Params.LoRa.SpreadingFactor = (RadioLoRaSpreadingFactors_t)LORA_SPREADING_FACTOR;
  SUBGRF_SetModulationParams(&modulationParams);

  packetParams.PacketType = PACKET_TYPE_LORA;
  packetParams.Params.LoRa.CrcMode = LORA_CRC_ON;
  packetParams.Params.LoRa.HeaderType = LORA_PACKET_VARIABLE_LENGTH;
  packetParams.Params.LoRa.InvertIQ = LORA_IQ_NORMAL;
  packetParams.Params.LoRa.PayloadLength = 0xFF;
  packetParams.Params.LoRa.PreambleLength = LORA_PREAMBLE_LENGTH;
  SUBGRF_SetPacketParams(&packetParams);

  //SUBGRF_SetLoRaSymbNumTimeout(LORA_SYMBOL_TIMEOUT);

  // WORKAROUND - Optimizing the Inverted IQ Operation, see DS_SX1261-2_V1.2 datasheet chapter 15.4
  // RegIqPolaritySetup @address 0x0736
  SUBGRF_WriteRegister( 0x0736, SUBGRF_ReadRegister( 0x0736 ) | ( 1 << 2 ) );
}

///**
//  * @brief  Receive data trough SUBGHZSPI peripheral
//  * @param  radioIrq  interrupt pending status information
//  * @retval None
//  */
//void RadioOnDioIrq(RadioIrqMasks_t radioIrq)
//{
//  switch (radioIrq)
//  {
//    case IRQ_TX_DONE:
//      eventReceptor = eventTxDone;
//      break;
//    case IRQ_RX_DONE:
//      eventReceptor = eventRxDone;
//      break;
//    case IRQ_RX_TX_TIMEOUT:
//      if (SUBGRF_GetOperatingMode() == MODE_TX)
//      {
//        eventReceptor = eventTxTimeout;
//      }
//      else if (SUBGRF_GetOperatingMode() == MODE_RX)
//      {
//        eventReceptor = eventRxTimeout;
//      }
//      break;
//    case IRQ_CRC_ERROR:
//      eventReceptor = eventRxError;
//      break;
//    default:
//      break;
//  }
//}
/**
  * @brief  Radio IRQ handler
  * @param  radioIrq Interrupt type (TX done, RX done, etc.)
  * @retval None
  */
void RadioOnDioIrq(RadioIrqMasks_t radioIrq)
{
    switch (radioIrq)
    {
        case IRQ_TX_DONE:
            HAL_UART_Transmit(&huart2, (uint8_t *)"TX Done\r\n", 9, HAL_MAX_DELAY);
            txCompleteFlag = 1;  // Set flag when transmission is complete
            break;
        case IRQ_RX_DONE:
        	handleRxDone(TRUE);
            eventReceptor = eventRxDone;
            break;
        case IRQ_RX_TX_TIMEOUT:
        	handleRxTimeout();
            eventReceptor = eventRxTimeout;
            break;
        case IRQ_CRC_ERROR:
        	handleRxError();
            eventReceptor = eventRxError;
            break;
        default:
            break;
    }
}

/**
  * @brief  Process the TX Done event
  * @param  fsm pointer to FSM context
  * @retval None
  */
void eventTxDone(pingPongFSM_t *const fsm)
{
  HAL_UART_Transmit(&huart2, (uint8_t *)"Event TX Done\r\n", 15, HAL_MAX_DELAY);
  switch (fsm->state)
  {
    case STATE_MASTER:
      switch (fsm->subState)
      {
        case SSTATE_TX:
          enterMasterRx(fsm);
          fsm->subState = SSTATE_RX;
          break;
        default:
          break;
      }
      break;
    case STATE_SLAVE:
      switch (fsm->subState)
      {
        case SSTATE_TX:
          enterSlaveRx(fsm);
          fsm->subState = SSTATE_RX;
          break;
        default:
          break;
      }
      break;
    default:
      break;
  }
}

/**
  * @brief  Process the RX Done event
  * @param  fsm pointer to FSM context
  * @retval None
  */
void eventRxDone(pingPongFSM_t *const fsm)
{
  HAL_UART_Transmit(&huart2, (uint8_t *)"Event RX Done\r\n", 15, HAL_MAX_DELAY);
  switch(fsm->state)
  {
    case STATE_MASTER:
      switch (fsm->subState)
      {
        case SSTATE_RX:
          transitionRxDone(fsm);
          if (strncmp(fsm->rxBuffer, "PONG", 4) == 0)
          {
            BSP_LED_Off(LED_GREEN);
            BSP_LED_Toggle(LED_RED);
            enterMasterTx(fsm);
            fsm->subState = SSTATE_TX;
          }
          else if (strncmp(fsm->rxBuffer, "PING", 4) == 0)
          {
            enterSlaveRx(fsm);
            fsm->state = STATE_SLAVE;
          }
          else
          {
            enterMasterRx(fsm);
          }
          break;
        default:
          break;
      }
      break;
    case STATE_SLAVE:
      switch (fsm->subState)
      {
        case SSTATE_RX:
          transitionRxDone(fsm);
          if (strncmp(fsm->rxBuffer, "PING", 4) == 0)
          {
            BSP_LED_Off(LED_RED);
            BSP_LED_Toggle(LED_GREEN);
            enterSlaveTx(fsm);
            fsm->subState = SSTATE_TX;
          }
          else
          {
            enterMasterRx(fsm);
            fsm->state = STATE_MASTER;
          }
          break;
        default:
          break;
      }
      break;
    default:
      break;
  }
}

/**
  * @brief  Process the TX Timeout event
  * @param  fsm pointer to FSM context
  * @retval None
  */
void eventTxTimeout(pingPongFSM_t *const fsm)
{
  HAL_UART_Transmit(&huart2, (uint8_t *)"Event TX Timeout\r\n", 18, HAL_MAX_DELAY);
  switch (fsm->state)
  {
    case STATE_MASTER:
      switch (fsm->subState)
      {
        case SSTATE_TX:
          enterMasterRx(fsm);
          fsm->subState = SSTATE_RX;
          break;
        default:
          break;
      }
      break;
    case STATE_SLAVE:
      switch (fsm->subState)
      {
        case SSTATE_TX:
          enterSlaveRx(fsm);
          fsm->subState = SSTATE_RX;
          break;
        default:
          break;
      }
      break;
    default:
      break;
  }
}

/**
  * @brief  Process the RX Timeout event
  * @param  fsm pointer to FSM context
  * @retval None
  */
void eventRxTimeout(pingPongFSM_t *const fsm)
{
  HAL_UART_Transmit(&huart2, (uint8_t *)"Event RX Timeout\r\n", 18, HAL_MAX_DELAY);
  switch (fsm->state)
  {
    case STATE_MASTER:
      switch (fsm->subState)
      {
        case SSTATE_RX:
          HAL_Delay(fsm->randomDelay);
          enterMasterTx(fsm);
          fsm->subState = SSTATE_TX;
          break;
        default:
          break;
      }
      break;
    case STATE_SLAVE:
      switch (fsm->subState)
      {
        case SSTATE_RX:
          enterSlaveRx(fsm);
          break;
        default:
          break;
      }
      break;
    default:
      break;
  }
}

/**
  * @brief  Process the RX Error event
  * @param  fsm pointer to FSM context
  * @retval None
  */
void eventRxError(pingPongFSM_t *const fsm)
{
  HAL_UART_Transmit(&huart2, (uint8_t *)"Event Rx Error\r\n", 16, HAL_MAX_DELAY);
  switch (fsm->state)
  {
    case STATE_MASTER:
      switch (fsm->subState)
      {
        case SSTATE_RX:
          HAL_Delay(fsm->randomDelay);
          enterMasterTx(fsm);
          fsm->subState = SSTATE_TX;
          break;
        default:
          break;
      }
      break;
    case STATE_SLAVE:
      switch (fsm->subState)
      {
        case SSTATE_RX:
          enterSlaveRx(fsm);
          break;
        default:
          break;
      }
      break;
    default:
      break;
  }
}

/**
  * @brief  Entry actions for the RX sub-state of the Master state
  * @param  fsm pointer to FSM context
  * @retval None
  */
void enterMasterRx(pingPongFSM_t *const fsm)
{
  HAL_UART_Transmit(&huart2, (uint8_t *)"Master Rx start\r\n", 17, HAL_MAX_DELAY);
  SUBGRF_SetDioIrqParams( IRQ_RX_DONE | IRQ_RX_TX_TIMEOUT | IRQ_CRC_ERROR | IRQ_HEADER_ERROR,
                          IRQ_RX_DONE | IRQ_RX_TX_TIMEOUT | IRQ_CRC_ERROR | IRQ_HEADER_ERROR,
                          IRQ_RADIO_NONE,
                          IRQ_RADIO_NONE );
  SUBGRF_SetSwitch(RFO_LP, RFSWITCH_RX);
  packetParams.Params.LoRa.PayloadLength = 0xFF;
  SUBGRF_SetPacketParams(&packetParams);
  SUBGRF_SetRx(fsm->rxTimeout << 6);
}

/**
  * @brief  Entry actions for the RX sub-state of the Slave state
  * @param  fsm pointer to FSM context
  * @retval None
  */
void enterSlaveRx(pingPongFSM_t *const fsm)
{
  HAL_UART_Transmit(&huart2, (uint8_t *)"Slave Rx start\r\n", 16, HAL_MAX_DELAY);
  SUBGRF_SetDioIrqParams( IRQ_RX_DONE | IRQ_RX_TX_TIMEOUT | IRQ_CRC_ERROR | IRQ_HEADER_ERROR,
                          IRQ_RX_DONE | IRQ_RX_TX_TIMEOUT | IRQ_CRC_ERROR | IRQ_HEADER_ERROR,
                          IRQ_RADIO_NONE,
                          IRQ_RADIO_NONE );
  SUBGRF_SetSwitch(RFO_LP, RFSWITCH_RX);
  packetParams.Params.LoRa.PayloadLength = 0xFF;
  SUBGRF_SetPacketParams(&packetParams);
  SUBGRF_SetRx(fsm->rxTimeout << 6);
}

/**
  * @brief  Entry actions for the TX sub-state of the Master state
  * @param  fsm pointer to FSM context
  * @retval None
  */
void enterMasterTx(pingPongFSM_t *const fsm)
{
  HAL_Delay(fsm->rxMargin);

  HAL_UART_Transmit(&huart2, (uint8_t *)"...PING\r\n", 9, HAL_MAX_DELAY);
  HAL_UART_Transmit(&huart2, (uint8_t *)"Master Tx start\r\n", 17, HAL_MAX_DELAY);
  SUBGRF_SetDioIrqParams( IRQ_TX_DONE | IRQ_RX_TX_TIMEOUT,
                          IRQ_TX_DONE | IRQ_RX_TX_TIMEOUT,
                          IRQ_RADIO_NONE,
                          IRQ_RADIO_NONE );
  SUBGRF_SetSwitch(RFO_LP, RFSWITCH_TX);
  // Workaround 5.1 in DS.SX1261-2.W.APP (before each packet transmission)
  SUBGRF_WriteRegister(0x0889, (SUBGRF_ReadRegister(0x0889) | 0x04));
  packetParams.Params.LoRa.PayloadLength = 0x4;
  SUBGRF_SetPacketParams(&packetParams);
  SUBGRF_SendPayload((uint8_t *)"PING", 4, 0);
}

/**
  * @brief  Entry actions for the TX sub-state of the Slave state
  * @param  fsm pointer to FSM context
  * @retval None
  */
void enterSlaveTx(pingPongFSM_t *const fsm)
{
  HAL_Delay(fsm->rxMargin);

  HAL_UART_Transmit(&huart2, (uint8_t *)"...PONG\r\n", 9, HAL_MAX_DELAY);
  HAL_UART_Transmit(&huart2, (uint8_t *)"Slave Tx start\r\n", 16, HAL_MAX_DELAY);
  SUBGRF_SetDioIrqParams( IRQ_TX_DONE | IRQ_RX_TX_TIMEOUT,
                          IRQ_TX_DONE | IRQ_RX_TX_TIMEOUT,
                          IRQ_RADIO_NONE,
                          IRQ_RADIO_NONE );
  SUBGRF_SetSwitch(RFO_LP, RFSWITCH_TX);
  // Workaround 5.1 in DS.SX1261-2.W.APP (before each packet transmission)
  SUBGRF_WriteRegister(0x0889, (SUBGRF_ReadRegister(0x0889) | 0x04));
  packetParams.Params.LoRa.PayloadLength = 0x4;
  SUBGRF_SetPacketParams(&packetParams);
  SUBGRF_SendPayload((uint8_t *)"PONG", 4, 0);
}

/**
  * @brief  Transition actions executed on every RX Done event (helper function)
  * @param  fsm pointer to FSM context
  * @retval None
  */
void transitionRxDone(pingPongFSM_t *const fsm)
{
  PacketStatus_t packetStatus;
  char uartBuff[50];

  // Workaround 15.3 in DS.SX1261-2.W.APP (because following RX w/ timeout sequence)
  SUBGRF_WriteRegister(0x0920, 0x00);
  SUBGRF_WriteRegister(0x0944, (SUBGRF_ReadRegister(0x0944) | 0x02));

  SUBGRF_GetPayload((uint8_t *)fsm->rxBuffer, &fsm->rxSize, 0xFF);
  SUBGRF_GetPacketStatus(&packetStatus);

  sprintf(uartBuff, "RssiValue=%d dBm, SnrValue=%d Hz\r\n", packetStatus.Params.LoRa.RssiPkt, packetStatus.Params.LoRa.SnrPkt);
  HAL_UART_Transmit(&huart2, (uint8_t *)uartBuff, strlen(uartBuff), HAL_MAX_DELAY);
}

/* USER CODE END 4 */

void Error_Handler(void)
{
  __disable_irq();
  while (1)
  {
  }
}
